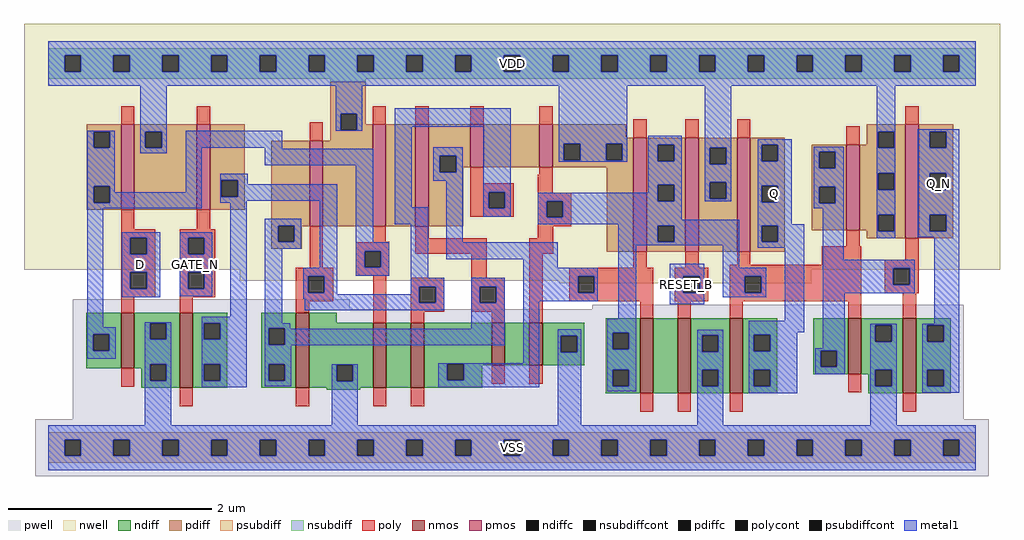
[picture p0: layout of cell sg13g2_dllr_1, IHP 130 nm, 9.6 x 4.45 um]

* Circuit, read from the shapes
.subckt sg13g2_dllr_1 GATE_N Q_N D RESET_B Q VDD VSS
XM1 VSS D n1 VSS sg13_lv_nmos w=0.55u l=0.13u
XM2 n2 GATE_N VSS VSS sg13_lv_nmos w=0.74u l=0.13u
XM3 VSS n2 n3 VSS sg13_lv_nmos w=0.74u l=0.13u
XM4 n4 n1 VSS VSS sg13_lv_nmos w=0.64u l=0.13u
XM5 n5 n2 n4 VSS sg13_lv_nmos w=0.64u l=0.13u
XM6 n6 n3 n5 VSS sg13_lv_nmos w=0.42u l=0.13u
XM7 VSS n7 n6 VSS sg13_lv_nmos w=0.42u l=0.13u
XM8 n8 n5 n7 VSS sg13_lv_nmos w=0.74u l=0.13u
XM9 VSS RESET_B n8 VSS sg13_lv_nmos w=0.74u l=0.13u
XM10 Q n7 VSS VSS sg13_lv_nmos w=0.74u l=0.13u
XM11 VSS n7 n9 VSS sg13_lv_nmos w=0.55u l=0.13u
XM12 Q_N n9 VSS VSS sg13_lv_nmos w=0.74u l=0.13u
XM13 VDD D n1 VDD sg13_lv_pmos w=0.84u l=0.13u
XM14 n2 GATE_N VDD VDD sg13_lv_pmos w=0.84u l=0.13u
XM15 VDD n2 n3 VDD sg13_lv_pmos w=0.84u l=0.13u
XM16 n10 n1 VDD VDD sg13_lv_pmos w=1u l=0.13u
XM17 n5 n3 n10 VDD sg13_lv_pmos w=1u l=0.13u
XM18 n11 n2 n5 VDD sg13_lv_pmos w=0.42u l=0.13u
XM19 VDD n7 n11 VDD sg13_lv_pmos w=0.42u l=0.13u
XM20 n7 n5 VDD VDD sg13_lv_pmos w=1.12u l=0.13u
XM21 VDD RESET_B n7 VDD sg13_lv_pmos w=1.12u l=0.13u
XM22 Q n7 VDD VDD sg13_lv_pmos w=1.12u l=0.13u
XM23 VDD n7 n9 VDD sg13_lv_pmos w=0.84u l=0.13u
XM24 Q_N n9 VDD VDD sg13_lv_pmos w=1.12u l=0.13u
.ends

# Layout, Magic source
magic
tech ihp-sg13g2
magscale 1 2
<< nwell >>
rect -48 350 1872 834
rect 376 329 1502 350
rect 1005 324 1502 329
<< pwell >>
rect 48 272 593 292
rect 1070 272 1801 281
rect 48 56 1801 272
rect -26 -56 1850 56
<< nmos >>
rect 143 156 169 266
rect 258 118 284 266
rect 487 118 513 266
rect 639 118 665 246
rect 713 118 739 246
rect 872 162 898 246
rect 946 162 972 246
rect 1164 107 1190 255
rect 1238 107 1264 255
rect 1340 107 1366 255
rect 1573 145 1599 255
rect 1681 107 1707 255
<< pmos >>
rect 143 468 169 636
rect 292 468 318 636
rect 514 436 540 604
rect 638 436 664 636
rect 722 436 748 636
rect 830 552 856 636
rect 966 552 992 636
rect 1151 386 1177 610
rect 1253 386 1279 610
rect 1355 386 1381 610
rect 1570 428 1596 596
rect 1686 412 1712 636
<< ndiff >>
rect 74 223 143 266
rect 74 191 88 223
rect 120 191 143 223
rect 74 156 143 191
rect 169 245 258 266
rect 169 213 200 245
rect 232 213 258 245
rect 169 164 258 213
rect 169 156 200 164
rect 183 132 200 156
rect 232 132 258 164
rect 183 118 258 132
rect 284 245 352 266
rect 284 213 306 245
rect 338 213 352 245
rect 284 164 352 213
rect 284 132 306 164
rect 338 132 352 164
rect 284 118 352 132
rect 419 235 487 266
rect 419 203 433 235
rect 465 203 487 235
rect 419 164 487 203
rect 419 132 433 164
rect 465 132 487 164
rect 419 118 487 132
rect 513 246 567 266
rect 513 163 639 246
rect 513 131 567 163
rect 599 131 639 163
rect 513 118 639 131
rect 665 118 713 246
rect 739 165 872 246
rect 739 133 785 165
rect 817 162 872 165
rect 898 162 946 246
rect 972 220 1054 246
rect 972 188 1008 220
rect 1040 188 1054 220
rect 972 162 1054 188
rect 1096 226 1164 255
rect 1096 194 1110 226
rect 1142 194 1164 226
rect 817 133 853 162
rect 739 118 853 133
rect 1096 153 1164 194
rect 1096 121 1110 153
rect 1142 121 1164 153
rect 548 114 613 118
rect 1096 107 1164 121
rect 1190 107 1238 255
rect 1264 221 1340 255
rect 1264 189 1286 221
rect 1318 189 1340 221
rect 1264 153 1340 189
rect 1264 121 1286 153
rect 1318 121 1340 153
rect 1264 107 1340 121
rect 1366 222 1434 255
rect 1366 190 1388 222
rect 1420 190 1434 222
rect 1366 153 1434 190
rect 1366 121 1388 153
rect 1420 121 1434 153
rect 1505 191 1573 255
rect 1505 159 1519 191
rect 1551 159 1573 191
rect 1505 145 1573 159
rect 1599 241 1681 255
rect 1599 209 1627 241
rect 1659 209 1681 241
rect 1599 153 1681 209
rect 1599 145 1627 153
rect 1366 107 1434 121
rect 1613 121 1627 145
rect 1659 121 1681 153
rect 1613 107 1681 121
rect 1707 241 1775 255
rect 1707 209 1729 241
rect 1761 209 1775 241
rect 1707 153 1775 209
rect 1707 121 1729 153
rect 1761 121 1775 153
rect 1707 107 1775 121
<< pdiff >>
rect 554 657 624 720
rect 75 622 143 636
rect 75 590 89 622
rect 121 590 143 622
rect 75 514 143 590
rect 75 482 89 514
rect 121 482 143 514
rect 75 468 143 482
rect 169 622 292 636
rect 169 590 191 622
rect 223 590 292 622
rect 169 468 292 590
rect 318 526 386 636
rect 554 625 575 657
rect 607 636 624 657
rect 607 625 638 636
rect 554 604 638 625
rect 318 494 340 526
rect 372 494 386 526
rect 318 468 386 494
rect 438 437 514 604
rect 438 405 452 437
rect 484 436 514 437
rect 540 436 638 604
rect 664 436 722 636
rect 748 574 830 636
rect 748 542 770 574
rect 802 552 830 574
rect 856 552 966 636
rect 992 610 1137 636
rect 992 598 1151 610
rect 992 566 1014 598
rect 1046 566 1097 598
rect 1129 566 1151 598
rect 992 552 1151 566
rect 802 542 816 552
rect 748 436 816 542
rect 484 405 498 436
rect 438 391 498 405
rect 1098 386 1151 552
rect 1177 596 1253 610
rect 1177 564 1199 596
rect 1231 564 1253 596
rect 1177 517 1253 564
rect 1177 485 1199 517
rect 1231 485 1253 517
rect 1177 437 1253 485
rect 1177 405 1199 437
rect 1231 405 1253 437
rect 1177 386 1253 405
rect 1279 590 1355 610
rect 1279 558 1301 590
rect 1333 558 1355 590
rect 1279 522 1355 558
rect 1279 490 1301 522
rect 1333 490 1355 522
rect 1279 386 1355 490
rect 1381 596 1449 610
rect 1610 622 1686 636
rect 1610 596 1632 622
rect 1381 564 1403 596
rect 1435 564 1449 596
rect 1381 515 1449 564
rect 1381 483 1403 515
rect 1435 483 1449 515
rect 1381 437 1449 483
rect 1381 405 1403 437
rect 1435 405 1449 437
rect 1502 582 1570 596
rect 1502 550 1516 582
rect 1548 550 1570 582
rect 1502 513 1570 550
rect 1502 481 1516 513
rect 1548 481 1570 513
rect 1502 428 1570 481
rect 1596 590 1632 596
rect 1664 590 1686 622
rect 1596 540 1686 590
rect 1596 508 1632 540
rect 1664 508 1686 540
rect 1596 458 1686 508
rect 1596 428 1632 458
rect 1381 386 1449 405
rect 1610 426 1632 428
rect 1664 426 1686 458
rect 1610 412 1686 426
rect 1712 622 1780 636
rect 1712 590 1734 622
rect 1766 590 1780 622
rect 1712 540 1780 590
rect 1712 508 1734 540
rect 1766 508 1780 540
rect 1712 458 1780 508
rect 1712 426 1734 458
rect 1766 426 1780 458
rect 1712 412 1780 426
<< ndiffc >>
rect 88 191 120 223
rect 200 213 232 245
rect 200 132 232 164
rect 306 213 338 245
rect 306 132 338 164
rect 433 203 465 235
rect 433 132 465 164
rect 567 131 599 163
rect 785 133 817 165
rect 1008 188 1040 220
rect 1110 194 1142 226
rect 1110 121 1142 153
rect 1286 189 1318 221
rect 1286 121 1318 153
rect 1388 190 1420 222
rect 1388 121 1420 153
rect 1519 159 1551 191
rect 1627 209 1659 241
rect 1627 121 1659 153
rect 1729 209 1761 241
rect 1729 121 1761 153
<< pdiffc >>
rect 89 590 121 622
rect 89 482 121 514
rect 191 590 223 622
rect 575 625 607 657
rect 340 494 372 526
rect 452 405 484 437
rect 770 542 802 574
rect 1014 566 1046 598
rect 1097 566 1129 598
rect 1199 564 1231 596
rect 1199 485 1231 517
rect 1199 405 1231 437
rect 1301 558 1333 590
rect 1301 490 1333 522
rect 1403 564 1435 596
rect 1403 483 1435 515
rect 1403 405 1435 437
rect 1516 550 1548 582
rect 1516 481 1548 513
rect 1632 590 1664 622
rect 1632 508 1664 540
rect 1632 426 1664 458
rect 1734 590 1766 622
rect 1734 508 1766 540
rect 1734 426 1766 458
<< psubdiff >>
rect 0 16 1824 30
rect 0 -16 32 16
rect 64 -16 128 16
rect 160 -16 224 16
rect 256 -16 320 16
rect 352 -16 416 16
rect 448 -16 512 16
rect 544 -16 608 16
rect 640 -16 704 16
rect 736 -16 800 16
rect 832 -16 896 16
rect 928 -16 992 16
rect 1024 -16 1088 16
rect 1120 -16 1184 16
rect 1216 -16 1280 16
rect 1312 -16 1376 16
rect 1408 -16 1472 16
rect 1504 -16 1568 16
rect 1600 -16 1664 16
rect 1696 -16 1760 16
rect 1792 -16 1824 16
rect 0 -30 1824 -16
<< nsubdiff >>
rect 0 772 1824 786
rect 0 740 32 772
rect 64 740 128 772
rect 160 740 224 772
rect 256 740 320 772
rect 352 740 416 772
rect 448 740 512 772
rect 544 740 608 772
rect 640 740 704 772
rect 736 740 800 772
rect 832 740 896 772
rect 928 740 992 772
rect 1024 740 1088 772
rect 1120 740 1184 772
rect 1216 740 1280 772
rect 1312 740 1376 772
rect 1408 740 1472 772
rect 1504 740 1568 772
rect 1600 740 1664 772
rect 1696 740 1760 772
rect 1792 740 1824 772
rect 0 726 1824 740
rect 554 720 624 726
<< psubdiffcont >>
rect 32 -16 64 16
rect 128 -16 160 16
rect 224 -16 256 16
rect 320 -16 352 16
rect 416 -16 448 16
rect 512 -16 544 16
rect 608 -16 640 16
rect 704 -16 736 16
rect 800 -16 832 16
rect 896 -16 928 16
rect 992 -16 1024 16
rect 1088 -16 1120 16
rect 1184 -16 1216 16
rect 1280 -16 1312 16
rect 1376 -16 1408 16
rect 1472 -16 1504 16
rect 1568 -16 1600 16
rect 1664 -16 1696 16
rect 1760 -16 1792 16
<< nsubdiffcont >>
rect 32 740 64 772
rect 128 740 160 772
rect 224 740 256 772
rect 320 740 352 772
rect 416 740 448 772
rect 512 740 544 772
rect 608 740 640 772
rect 704 740 736 772
rect 800 740 832 772
rect 896 740 928 772
rect 992 740 1024 772
rect 1088 740 1120 772
rect 1184 740 1216 772
rect 1280 740 1312 772
rect 1376 740 1408 772
rect 1472 740 1504 772
rect 1568 740 1600 772
rect 1664 740 1696 772
rect 1760 740 1792 772
<< poly >>
rect 143 636 169 672
rect 292 636 318 672
rect 514 604 540 640
rect 638 636 664 672
rect 722 636 748 672
rect 830 636 856 672
rect 966 636 992 672
rect 143 430 169 468
rect 292 430 318 468
rect 143 413 210 430
rect 143 381 161 413
rect 193 381 210 413
rect 143 345 210 381
rect 143 313 161 345
rect 193 313 210 345
rect 143 296 210 313
rect 258 413 328 430
rect 258 381 275 413
rect 307 381 328 413
rect 1151 610 1177 646
rect 1253 610 1279 646
rect 1355 610 1381 646
rect 1686 636 1712 672
rect 830 520 856 552
rect 966 537 992 552
rect 830 503 915 520
rect 830 471 866 503
rect 898 471 915 503
rect 830 454 915 471
rect 963 502 992 537
rect 963 485 1029 502
rect 963 453 980 485
rect 1012 453 1029 485
rect 963 436 1029 453
rect 258 345 328 381
rect 514 354 540 436
rect 638 405 664 436
rect 722 412 748 436
rect 963 412 993 436
rect 638 404 671 405
rect 605 387 671 404
rect 605 355 622 387
rect 654 355 671 387
rect 722 382 862 412
rect 258 313 275 345
rect 307 313 328 345
rect 258 296 328 313
rect 487 337 560 354
rect 605 338 671 355
rect 487 305 511 337
rect 543 305 560 337
rect 143 266 169 296
rect 258 266 284 296
rect 487 288 560 305
rect 487 266 513 288
rect 143 120 169 156
rect 639 246 665 338
rect 832 334 862 382
rect 946 382 993 412
rect 1570 596 1596 632
rect 1570 396 1596 428
rect 713 317 779 334
rect 713 285 730 317
rect 762 285 779 317
rect 713 268 779 285
rect 832 317 898 334
rect 832 285 849 317
rect 881 285 898 317
rect 832 268 898 285
rect 713 246 739 268
rect 872 246 898 268
rect 946 246 972 382
rect 1151 354 1177 386
rect 1253 354 1279 386
rect 1355 360 1381 386
rect 1521 360 1599 396
rect 1686 370 1712 412
rect 1025 337 1190 354
rect 1025 305 1042 337
rect 1074 305 1190 337
rect 1025 288 1190 305
rect 1232 337 1298 354
rect 1232 305 1249 337
rect 1281 305 1298 337
rect 1232 288 1298 305
rect 1340 337 1599 360
rect 1340 305 1370 337
rect 1402 305 1599 337
rect 1340 288 1599 305
rect 1645 353 1712 370
rect 1645 321 1662 353
rect 1694 321 1712 353
rect 1645 304 1712 321
rect 1164 255 1190 288
rect 1238 255 1264 288
rect 1340 255 1366 288
rect 1573 255 1599 288
rect 1681 255 1707 304
rect 872 126 898 162
rect 946 126 972 162
rect 258 82 284 118
rect 487 82 513 118
rect 639 82 665 118
rect 713 82 739 118
rect 1573 109 1599 145
rect 1164 71 1190 107
rect 1238 71 1264 107
rect 1340 71 1366 107
rect 1681 71 1707 107
<< polycont >>
rect 161 381 193 413
rect 161 313 193 345
rect 275 381 307 413
rect 866 471 898 503
rect 980 453 1012 485
rect 622 355 654 387
rect 275 313 307 345
rect 511 305 543 337
rect 730 285 762 317
rect 849 285 881 317
rect 1042 305 1074 337
rect 1249 305 1281 337
rect 1370 305 1402 337
rect 1662 321 1694 353
<< metal1 >>
rect 0 772 1824 800
rect 0 740 32 772
rect 64 740 128 772
rect 160 740 224 772
rect 256 740 320 772
rect 352 740 416 772
rect 448 740 512 772
rect 544 740 608 772
rect 640 740 704 772
rect 736 740 800 772
rect 832 740 896 772
rect 928 740 992 772
rect 1024 740 1088 772
rect 1120 740 1184 772
rect 1216 740 1280 772
rect 1312 740 1376 772
rect 1408 740 1472 772
rect 1504 740 1568 772
rect 1600 740 1664 772
rect 1696 740 1760 772
rect 1792 740 1824 772
rect 0 712 1824 740
rect 76 622 131 624
rect 76 590 89 622
rect 121 590 131 622
rect 76 514 131 590
rect 181 622 233 712
rect 565 657 617 712
rect 565 625 575 657
rect 607 625 617 657
rect 565 624 617 625
rect 681 631 910 668
rect 181 590 191 622
rect 223 590 233 622
rect 181 579 233 590
rect 270 590 460 624
rect 76 482 89 514
rect 121 503 131 514
rect 270 503 302 590
rect 426 588 460 590
rect 426 556 639 588
rect 121 482 302 503
rect 338 526 392 539
rect 338 494 340 526
rect 372 518 392 526
rect 372 494 568 518
rect 338 486 568 494
rect 338 482 390 486
rect 76 471 302 482
rect 76 237 108 471
rect 144 413 220 424
rect 144 381 161 413
rect 193 381 220 413
rect 144 345 220 381
rect 144 313 161 345
rect 193 313 220 345
rect 144 296 220 313
rect 258 413 322 424
rect 258 381 275 413
rect 307 381 322 413
rect 258 345 322 381
rect 258 313 275 345
rect 307 313 322 345
rect 258 298 322 313
rect 358 258 390 482
rect 190 245 242 247
rect 76 223 132 237
rect 76 191 88 223
rect 120 191 132 223
rect 76 175 132 191
rect 190 213 200 245
rect 232 213 242 245
rect 190 164 242 213
rect 190 132 200 164
rect 232 132 242 164
rect 190 44 242 132
rect 302 245 390 258
rect 302 213 306 245
rect 338 213 390 245
rect 302 164 390 213
rect 302 132 306 164
rect 338 132 390 164
rect 302 119 390 132
rect 426 437 497 450
rect 426 405 452 437
rect 484 405 497 437
rect 426 391 497 405
rect 426 245 460 391
rect 534 354 568 486
rect 501 337 568 354
rect 605 404 639 556
rect 681 473 715 631
rect 757 574 815 591
rect 757 542 770 574
rect 802 542 815 574
rect 757 525 815 542
rect 681 440 747 473
rect 605 387 671 404
rect 605 355 622 387
rect 654 355 671 387
rect 605 338 671 355
rect 501 305 511 337
rect 543 305 568 337
rect 501 302 568 305
rect 713 334 747 440
rect 783 404 815 525
rect 855 503 910 631
rect 1004 598 1139 712
rect 1004 566 1014 598
rect 1046 566 1097 598
rect 1129 566 1139 598
rect 1004 563 1139 566
rect 1180 596 1246 614
rect 1180 564 1199 596
rect 1231 564 1246 596
rect 855 471 866 503
rect 898 471 910 503
rect 1180 517 1246 564
rect 1180 502 1199 517
rect 855 454 910 471
rect 963 485 1199 502
rect 1231 485 1246 517
rect 1291 590 1343 712
rect 1630 622 1666 712
rect 1291 558 1301 590
rect 1333 558 1343 590
rect 1291 522 1343 558
rect 1291 490 1301 522
rect 1333 490 1343 522
rect 1291 485 1343 490
rect 1395 596 1462 607
rect 1395 564 1403 596
rect 1435 564 1462 596
rect 1395 515 1462 564
rect 963 453 980 485
rect 1012 453 1246 485
rect 963 449 1246 453
rect 1395 483 1403 515
rect 1435 483 1462 515
rect 963 440 1359 449
rect 1121 437 1359 440
rect 1121 405 1199 437
rect 1231 405 1359 437
rect 783 371 1002 404
rect 934 354 1002 371
rect 1121 398 1359 405
rect 934 337 1081 354
rect 713 317 779 334
rect 713 302 730 317
rect 501 293 730 302
rect 504 285 730 293
rect 762 285 779 317
rect 504 270 779 285
rect 832 317 898 334
rect 832 285 849 317
rect 881 285 898 317
rect 426 235 476 245
rect 426 203 433 235
rect 465 234 476 235
rect 832 234 898 285
rect 465 203 898 234
rect 426 202 898 203
rect 934 305 1042 337
rect 1074 305 1081 337
rect 934 288 1081 305
rect 426 164 478 202
rect 934 166 966 288
rect 1121 254 1156 398
rect 1222 337 1290 362
rect 1222 305 1249 337
rect 1281 305 1290 337
rect 1222 282 1290 305
rect 1327 354 1359 398
rect 1395 440 1462 483
rect 1506 582 1565 592
rect 1506 550 1516 582
rect 1548 550 1565 582
rect 1506 513 1565 550
rect 1506 481 1516 513
rect 1548 481 1565 513
rect 1506 471 1565 481
rect 1395 437 1487 440
rect 1395 405 1403 437
rect 1435 405 1487 437
rect 1395 393 1487 405
rect 1327 337 1412 354
rect 1327 305 1370 337
rect 1402 305 1412 337
rect 1327 296 1412 305
rect 767 165 966 166
rect 426 132 433 164
rect 465 132 478 164
rect 426 121 478 132
rect 557 163 609 164
rect 557 131 567 163
rect 599 131 609 163
rect 557 44 609 131
rect 767 133 785 165
rect 817 133 966 165
rect 767 119 966 133
rect 1002 220 1048 233
rect 1002 188 1008 220
rect 1040 188 1048 220
rect 1002 44 1048 188
rect 1099 226 1156 254
rect 1449 250 1487 393
rect 1099 194 1110 226
rect 1142 194 1156 226
rect 1099 153 1156 194
rect 1099 121 1110 153
rect 1142 121 1156 153
rect 1099 111 1156 121
rect 1276 221 1328 232
rect 1276 189 1286 221
rect 1318 189 1328 221
rect 1276 153 1328 189
rect 1276 121 1286 153
rect 1318 121 1328 153
rect 1276 44 1328 121
rect 1378 227 1487 250
rect 1523 370 1565 471
rect 1630 590 1632 622
rect 1664 590 1666 622
rect 1630 540 1666 590
rect 1630 508 1632 540
rect 1664 508 1666 540
rect 1630 458 1666 508
rect 1630 426 1632 458
rect 1664 426 1666 458
rect 1630 412 1666 426
rect 1710 622 1792 627
rect 1710 590 1734 622
rect 1766 590 1792 622
rect 1710 540 1792 590
rect 1710 508 1734 540
rect 1766 508 1792 540
rect 1710 458 1792 508
rect 1710 426 1734 458
rect 1766 426 1792 458
rect 1710 414 1792 426
rect 1523 353 1704 370
rect 1523 321 1662 353
rect 1694 321 1704 353
rect 1523 304 1704 321
rect 1378 222 1473 227
rect 1378 190 1388 222
rect 1420 190 1473 222
rect 1523 196 1567 304
rect 1743 244 1792 414
rect 1378 153 1473 190
rect 1378 121 1388 153
rect 1420 121 1473 153
rect 1509 191 1567 196
rect 1509 159 1519 191
rect 1551 159 1567 191
rect 1509 145 1567 159
rect 1617 241 1669 244
rect 1617 209 1627 241
rect 1659 209 1669 241
rect 1617 153 1669 209
rect 1378 107 1473 121
rect 1617 121 1627 153
rect 1659 121 1669 153
rect 1617 44 1669 121
rect 1719 241 1792 244
rect 1719 209 1729 241
rect 1761 209 1792 241
rect 1719 153 1792 209
rect 1719 121 1729 153
rect 1761 121 1792 153
rect 1719 108 1792 121
rect 0 16 1824 44
rect 0 -16 32 16
rect 64 -16 128 16
rect 160 -16 224 16
rect 256 -16 320 16
rect 352 -16 416 16
rect 448 -16 512 16
rect 544 -16 608 16
rect 640 -16 704 16
rect 736 -16 800 16
rect 832 -16 896 16
rect 928 -16 992 16
rect 1024 -16 1088 16
rect 1120 -16 1184 16
rect 1216 -16 1280 16
rect 1312 -16 1376 16
rect 1408 -16 1472 16
rect 1504 -16 1568 16
rect 1600 -16 1664 16
rect 1696 -16 1760 16
rect 1792 -16 1824 16
rect 0 -44 1824 -16
<< labels >>
flabel metal1 s 258 298 322 424 0 FreeSans 400 0 0 0 GATE_N
port 2 nsew
flabel metal1 s 1710 414 1792 627 0 FreeSans 400 0 0 0 Q_N
port 3 nsew
flabel metal1 s 144 296 220 424 0 FreeSans 400 0 0 0 D
port 4 nsew
flabel metal1 s 1222 282 1290 362 0 FreeSans 400 0 0 0 RESET_B
port 5 nsew
flabel metal1 s 1395 393 1462 607 0 FreeSans 400 0 0 0 Q
port 6 nsew
flabel metal1 s 0 712 1824 800 0 FreeSans 400 0 0 0 VDD
port 7 nsew
flabel metal1 s 0 -44 1824 44 0 FreeSans 400 0 0 0 VSS
port 8 nsew
<< properties >>
string FIXED_BBOX 0 0 1824 756
<< end >>
